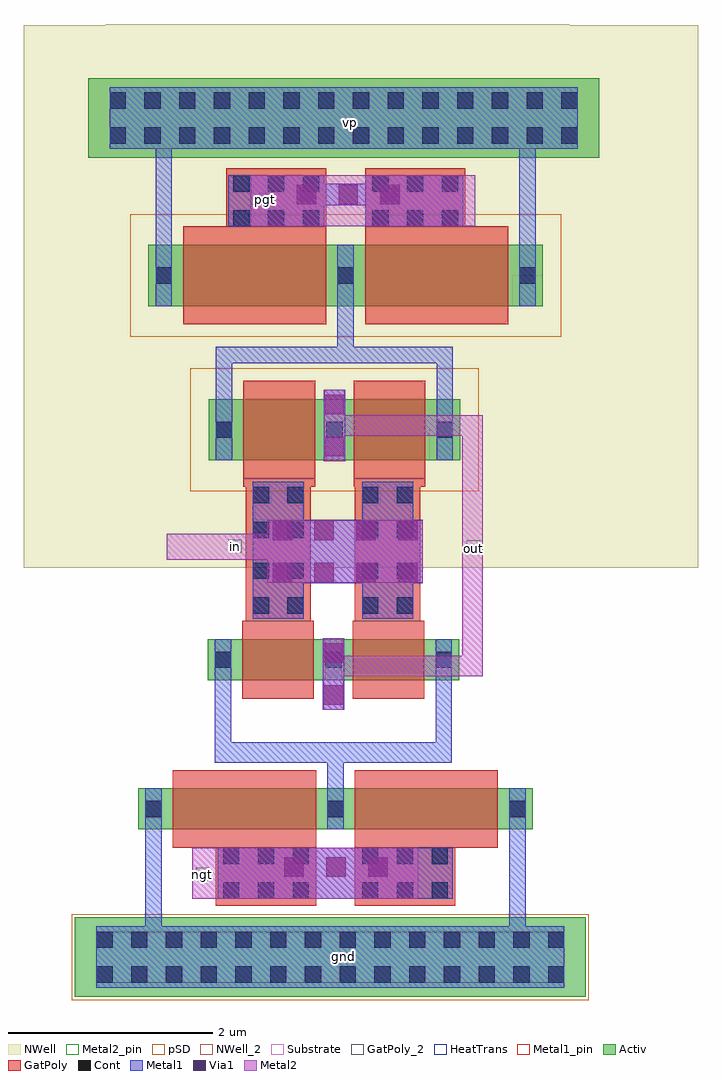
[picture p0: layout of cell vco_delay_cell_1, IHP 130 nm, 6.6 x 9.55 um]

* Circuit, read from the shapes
.subckt vco_delay_cell_1 gnd in ngt out pgt vp
XM1 n1 ngt gnd gnd sg13_lv_nmos w=0.4u l=1.4u m=2
XM2 out in n1 gnd sg13_lv_nmos w=0.4u l=0.7u m=2
XM3 n2 pgt vp vp sg13_lv_pmos w=0.6u l=1.4u m=2
XM4 out in n2 vp sg13_lv_pmos w=0.6u l=0.7u m=2
.ends

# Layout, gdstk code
from math import pi, radians
import gdstk
lib = gdstk.Library(unit=1e-6, precision=1e-09)
def R(c, l, rs):  # rectangles x0, y0, x1, y1
    for r in rs: c.add(gdstk.rectangle(r[:2], r[2:], *l))
def A(c, l, x, y, w, h, nx, ny, dx, dy):  # array of equal rectangles
    R(c, l, [(x+i*dx, y+j*dy, x+i*dx+w, y+j*dy+h) for i in range(nx) for j in range(ny)])
Activ = (1, 0)
GatPoly = (5, 0)
GatPoly_2 = (5, 2)
Cont = (6, 0)
Metal1 = (8, 0)
Metal1_pin = (8, 2)
Metal2 = (10, 0)
Metal2_pin = (10, 2)
pSD = (14, 0)
Via1 = (19, 0)
NWell = (31, 0)
NWell_2 = (31, 2)
Substrate = (40, 0)
HeatTrans = (51, 0)

via_5 = lib.new_cell('Via$5')
R(via_5, GatPoly, [(-0.49,-0.32,0.49,0.32)])
A(via_5, Cont, -0.42, -0.25, 0.16, 0.16, 3, 2, 0.34, 0.34)
R(via_5, Metal1, [(-0.47,-0.25,0.47,0.25)])

via_1 = lib.new_cell('Via$1')
R(via_1, Metal1, [(-0.105,-0.555,0.105,0.555)])
R(via_1, Metal2, [(-0.1,-0.555,0.1,0.555)])
A(via_1, Via1, -0.095, -0.505, 0.19, 0.19, 1, 3, 0, 0.41)

via_2 = lib.new_cell('Via$2')
R(via_2, Metal1, [(-0.105,-0.35,0.105,0.35)])
R(via_2, Metal2, [(-0.1,-0.35,0.1,0.35)])
R(via_2, Via1, [(-0.095,-0.3,0.095,-0.11), (-0.095,0.11,0.095,0.3)])

via_6 = lib.new_cell('Via$6')
R(via_6, Metal1, [(-0.31,-0.76,0.31,0.76)])
R(via_6, Metal2, [(-0.305,-0.76,0.305,0.76)])
A(via_6, Via1, -0.3, -0.71, 0.19, 0.19, 1, 4, 0, 0.41)
A(via_6, Via1, 0.11, -0.71, 0.19, 0.19, 1, 4, 0, 0.41)

via = lib.new_cell('Via')
R(via, GatPoly, [(-0.32,-0.32,0.32,0.32)])
R(via, Cont, [(-0.25,-0.25,-0.09,-0.09), (0.09,-0.25,0.25,-0.09), (-0.25,0.09,-0.09,0.25), (0.09,0.09,0.25,0.25)])
R(via, Metal1, [(-0.3,-0.25,0.3,0.25)])

ptap1 = lib.new_cell('ptap1')
R(ptap1, Activ, [(0,0,5,0.78)])
A(ptap1, Cont, 0.21, 0.14, 0.16, 0.16, 14, 2, 0.34, 0.34)
R(ptap1, Metal1, [(0.21,0.09,4.79,0.69), (0.21,0.14,4.79,0.64)])
R(ptap1, Metal1_pin, [(0.21,0.14,4.79,0.64)])
R(ptap1, pSD, [(-0.03,-0.03,5.03,0.81)])
R(ptap1, Substrate, [(0,0,5,0.78)])
ptap1.add(gdstk.Label('sub!', (2.5,0.01), layer=63, texttype=0))
ptap1.add(gdstk.Label('sub!', (2.5,0.01), layer=40, texttype=0))

ntap1 = lib.new_cell('ntap1')
R(ntap1, Activ, [(0,0,5,0.78)])
A(ntap1, Cont, 0.21, 0.14, 0.16, 0.16, 14, 2, 0.34, 0.34)
R(ntap1, Metal1, [(0.21,0.09,4.79,0.69)])
R(ntap1, Metal1_pin, [(0.21,0.09,4.79,0.69), (0.21,0.14,4.79,0.64)])
R(ntap1, NWell, [(-0.24,-0.24,5.24,1.02), (0,0,5,0.78)])
R(ntap1, NWell_2, [(0,0,5,0.78)])
ntap1.add(gdstk.Label('well', (2.5,0.01), layer=31, texttype=0))
ntap1.add(gdstk.Label('well', (2.5,0.01), layer=63, texttype=0))

nmos_2 = lib.new_cell('nmos$2')
A(nmos_2, Activ, 0, 0, 0.3, 0.3, 3, 1, 1.78, 0)
R(nmos_2, Activ, [(0,0,3.86,0.4)])
R(nmos_2, GatPoly, [(0.34,-0.18,1.74,0.58), (2.12,-0.18,3.52,0.58)])
R(nmos_2, GatPoly_2, [(0.34,-0.18,1.74,0.58)])
A(nmos_2, Cont, 0.07, 0.12, 0.16, 0.16, 3, 1, 1.78, 0)
A(nmos_2, Metal1, 0.07, 0, 0.16, 0.4, 3, 1, 1.78, 0)
R(nmos_2, Metal1_pin, [(0.07,0,0.23,0.4), (1.85,0,2.01,0.4)])
R(nmos_2, HeatTrans, [(0.34,-0.18,1.74,0.58), (2.12,-0.18,3.52,0.58)])
nmos_2.add(gdstk.Label('nmos', (1.04,0.2), layer=63, texttype=0))
nmos_2.add(gdstk.Label('nmos', (1.04,0.2), layer=51, texttype=0))
nmos_2.add(gdstk.Label('nmos', (2.82,0.2), layer=51, texttype=0))

nmos = lib.new_cell('nmos')
A(nmos, Activ, 0, 0, 0.3, 0.3, 3, 1, 1.08, 0)
R(nmos, Activ, [(0,0,2.46,0.4)])
R(nmos, GatPoly, [(0.34,-0.18,1.04,0.58), (1.42,-0.18,2.12,0.58)])
R(nmos, GatPoly_2, [(0.34,-0.18,1.04,0.58)])
A(nmos, Cont, 0.07, 0.12, 0.16, 0.16, 3, 1, 1.08, 0)
A(nmos, Metal1, 0.07, 0, 0.16, 0.4, 3, 1, 1.08, 0)
R(nmos, Metal1_pin, [(0.07,0,0.23,0.4), (1.15,0,1.31,0.4)])
R(nmos, HeatTrans, [(0.34,-0.18,1.04,0.58), (1.42,-0.18,2.12,0.58)])
nmos.add(gdstk.Label('nmos', (0.69,0.2), layer=63, texttype=0))
nmos.add(gdstk.Label('nmos', (0.69,0.2), layer=51, texttype=0))
nmos.add(gdstk.Label('nmos', (1.77,0.2), layer=51, texttype=0))

pmos = lib.new_cell('pmos')
A(pmos, Activ, 0, 0, 0.3, 0.3, 3, 1, 1.78, 0)
R(pmos, Activ, [(0,0,3.86,0.6)])
R(pmos, GatPoly, [(0.34,-0.18,1.74,0.78), (0.34,-0.18,1.74,0.78), (2.12,-0.18,3.52,0.78)])
A(pmos, Cont, 0.07, 0.22, 0.16, 0.16, 3, 1, 1.78, 0)
R(pmos, Metal1, [(0.07,0,0.23,0.6), (0.07,0,0.23,0.6), (1.85,0,2.01,0.6), (1.85,0,2.01,0.6), (3.63,0,3.79,0.6)])
R(pmos, pSD, [(-0.18,-0.3,4.04,0.9)])
R(pmos, NWell, [(-0.31,-0.31,4.17,0.91)])
R(pmos, Substrate, [(3.56,0,3.86,0.3)])
R(pmos, HeatTrans, [(0.34,-0.18,1.74,0.78), (2.12,-0.18,3.52,0.78)])
pmos.add(gdstk.Label('pmos', (1.04,0.3), layer=63, texttype=0))
pmos.add(gdstk.Label('pmos', (1.04,0.3), layer=51, texttype=0))
pmos.add(gdstk.Label('pmos', (2.82,0.3), layer=51, texttype=0))

pmos_2 = lib.new_cell('pmos$2')
A(pmos_2, Activ, 0, 0, 0.3, 0.3, 3, 1, 1.08, 0)
R(pmos_2, Activ, [(0,0,2.46,0.6)])
R(pmos_2, GatPoly, [(0.34,-0.18,1.04,0.78), (0.34,-0.18,1.04,0.78), (1.42,-0.18,2.12,0.78)])
A(pmos_2, Cont, 0.07, 0.22, 0.16, 0.16, 3, 1, 1.08, 0)
R(pmos_2, Metal1, [(0.07,0,0.23,0.6), (0.07,0,0.23,0.6), (1.15,0,1.31,0.6), (1.15,0,1.31,0.6), (2.23,0,2.39,0.6)])
R(pmos_2, pSD, [(-0.18,-0.3,2.64,0.9)])
R(pmos_2, NWell, [(-0.31,-0.31,2.77,0.91)])
R(pmos_2, Substrate, [(2.16,0,2.46,0.3)])
R(pmos_2, HeatTrans, [(0.34,-0.18,1.04,0.78), (1.42,-0.18,2.12,0.78)])
pmos_2.add(gdstk.Label('pmos', (0.69,0.3), layer=63, texttype=0))
pmos_2.add(gdstk.Label('pmos', (0.69,0.3), layer=51, texttype=0))
pmos_2.add(gdstk.Label('pmos', (1.77,0.3), layer=51, texttype=0))

vco_delay_cell_1 = lib.new_cell('vco_delay_cell_1')
R(vco_delay_cell_1, GatPoly, [(-0.14,-3.32,-0.07,-2.75), (-0.19,-0.09,0.45,0.25), (0.88,-0.03,1.52,0.41), (-0.21,0.78,0.49,0.86), (0.87,0.78,1.57,0.86), (-0.02,3.26,0.05,3.83)])
R(vco_delay_cell_1, Metal1, [(2.4,-4.12,2.55,-3.62), (2.39,-3.62,2.55,-2.57), (-1.17,-3.6,-1.01,-2.57), (0.42,-3.25,0.94,-2.75), (0.54,-3.25,0.88,-2.75), (0.61,-2.17,0.77,-1.89), (-0.49,-1.92,0.04,-1.72), (-0.01,-1.92,1.55,-1.72), (1.55,-1.92,1.83,-1.72), (1.67,-1.78,1.83,-1.42), (-0.49,-1.73,-0.33,-1.42), (1.67,-1.52,1.83,-1.3), (-0.49,-1.51,-0.33,-1.33), (1.67,-1.48,1.83,-1.11), (-0.49,-1.38,-0.33,-1.11), (0.95,-0.35,1.45,0.13), (-0.12,-0.34,0.38,0.13), (-0.12,-0.04,0.13,0.23), (1.24,0.09,1.45,0.23), (-0.48,1.63,-0.32,2.04), (1.68,1.63,1.84,2.05), (-0.48,1.99,0.03,2.15), (0,1.99,1.56,2.15), (1.56,1.99,1.84,2.15), (0.71,2.05,0.87,2.5), (0.71,2.38,0.87,2.55), (-1.07,3.15,-0.91,4.02), (2.49,3.15,2.65,4.02), (0.98,3.33,1.1,3.83), (1.1,3.33,1.44,3.83), (-1.07,4.02,-0.91,4.26), (2.49,4.02,2.65,4.26)])
R(vco_delay_cell_1, Metal1_pin, [(0.705,-3.875,0.835,-3.745), (0.335,4.285,0.465,4.415)])
R(vco_delay_cell_1, Metal2, [(-0.71,-3.25,-0.12,-2.75), (-0.12,-3.25,1.5,-2.75), (0.7,-1.07,2,-0.87), (1.93,-1.07,2.13,0.57), (1.93,-0.16,2.13,1.48), (-0.96,0.07,1.37,0.32), (0.74,1.28,2.04,1.48), (-0.14,3.33,0.45,3.83), (0.44,3.33,2.06,3.83)])
R(vco_delay_cell_1, Metal2_pin, [(-0.675,-3.075,-0.545,-2.945), (1.975,0.13,2.105,0.26), (-0.355,0.135,-0.225,0.265), (-0.055,3.525,0.075,3.655)])
R(vco_delay_cell_1, NWell, [(-2.36,-0.01,4.24,0.3), (-1.56,0.29,2.98,5.31), (-2.36,0.3,4.24,5.3)])
vco_delay_cell_1.add(gdstk.Reference(via_5, (0.11,3.58)))
vco_delay_cell_1.add(gdstk.Reference(via_5, (1.47,3.58)))
vco_delay_cell_1.add(gdstk.Reference(via_1, (0.815,3.64), rotation=pi/2))
vco_delay_cell_1.add(gdstk.Reference(via_1, (0.695,-2.94), rotation=pi/2))
vco_delay_cell_1.add(gdstk.Reference(via_5, (1.37,-3)))
vco_delay_cell_1.add(gdstk.Reference(via_5, (0.01,-3)))
vco_delay_cell_1.add(gdstk.Reference(via_2, (0.67,-1.05)))
vco_delay_cell_1.add(gdstk.Reference(via_2, (0.68,1.38)))
vco_delay_cell_1.add(gdstk.Reference(via_6, (0.785,0.15), rotation=pi/2))
vco_delay_cell_1.add(gdstk.Reference(via, (1.2,-0.21), rotation=pi/2))
vco_delay_cell_1.add(gdstk.Reference(via, (0.13,-0.21), rotation=pi/2))
vco_delay_cell_1.add(gdstk.Reference(via, (1.2,0.53), rotation=pi/2))
vco_delay_cell_1.add(gdstk.Reference(via, (0.13,0.53), rotation=pi/2))
vco_delay_cell_1.add(gdstk.Reference(ptap1, (-1.86,-4.21)))
vco_delay_cell_1.add(gdstk.Reference(ntap1, (-1.73,4)))
vco_delay_cell_1.add(gdstk.Reference(nmos_2, (-1.24,-2.57)))
vco_delay_cell_1.add(gdstk.Reference(nmos, (-0.56,-1.11)))
vco_delay_cell_1.add(gdstk.Reference(pmos, (-1.14,2.55)))
vco_delay_cell_1.add(gdstk.Reference(pmos_2, (-0.55,1.04)))
vco_delay_cell_1.add(gdstk.Label('pgt', (0.01,3.59), layer=10, texttype=25))
vco_delay_cell_1.add(gdstk.Label('ngt', (-0.61,-3.01), layer=10, texttype=25))
vco_delay_cell_1.add(gdstk.Label('out', (2.04,0.18), layer=10, texttype=25))
vco_delay_cell_1.add(gdstk.Label('in', (-0.29,0.2), layer=10, texttype=25))
vco_delay_cell_1.add(gdstk.Label('vp', (0.84,4.35), layer=8, texttype=25))
vco_delay_cell_1.add(gdstk.Label('gnd', (0.77,-3.81), layer=8, texttype=25))

lib.write_gds('vco_delay_cell_1.gds')
